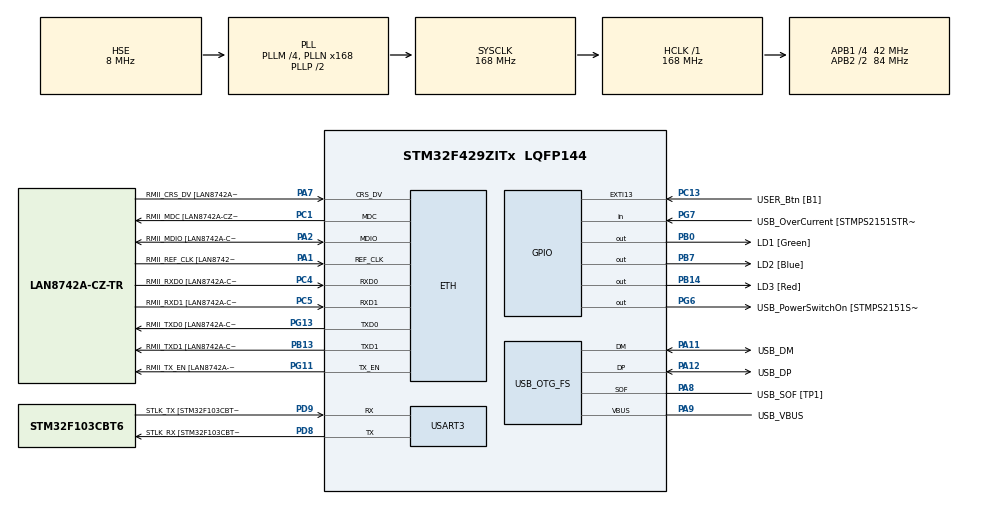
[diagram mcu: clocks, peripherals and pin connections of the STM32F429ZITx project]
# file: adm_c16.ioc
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ETH.MediaInterface=HAL_ETH_RMII_MODE
ETH.PHY_Name=LAN8742A_PHY_ADDRESS
ETH.PHY_Value=0
ETH.PhyAddress=0
Mcu.Family=STM32F4
Mcu.Name=STM32F429ZITx
Mcu.Package=LQFP144
NVIC.PriorityGroup=NVIC_PRIORITYGROUP_4
PA1.GPIO_Label=RMII_REF_CLK [LAN8742A-CZ-TR_REFCLK0]
PA1.Mode=RMII
PA1.Signal=ETH_REF_CLK
PA10.GPIO_Label=USB_ID
PA10.Signal=USB_OTG_FS_ID
PA11.GPIO_Label=USB_DM
PA11.Mode=Device_Only
PA11.Signal=USB_OTG_FS_DM
PA12.GPIO_Label=USB_DP
PA12.Mode=Device_Only
PA12.Signal=USB_OTG_FS_DP
PA13.GPIO_Label=TMS
PA13.Mode=Serial_Wire
PA13.Signal=SYS_JTMS-SWDIO
PA14.GPIO_Label=TCK
PA14.Mode=Serial_Wire
PA14.Signal=SYS_JTCK-SWCLK
PA2.GPIO_Label=RMII_MDIO [LAN8742A-CZ-TR_MDIO]
PA2.Mode=RMII
PA2.Signal=ETH_MDIO
PA7.GPIO_Label=RMII_CRS_DV [LAN8742A-CZ-TR_CRS_DV]
PA7.Mode=RMII
PA7.Signal=ETH_CRS_DV
PA8.GPIO_Label=USB_SOF [TP1]
PA8.Mode=Activate_SOF_FS
PA8.Signal=USB_OTG_FS_SOF
PA9.GPIO_Label=USB_VBUS
PA9.Mode=Activate_VBUS
PA9.Signal=USB_OTG_FS_VBUS
PB0.GPIO_Label=LD1 [Green]
PB0.Signal=GPIO_Output
PB13.GPIO_Label=RMII_TXD1 [LAN8742A-CZ-TR_TXD1]
PB13.Mode=RMII
PB13.Signal=ETH_TXD1
PB14.GPIO_Label=LD3 [Red]
PB14.Signal=GPIO_Output
PB7.GPIO_Label=LD2 [Blue]
PB7.Signal=GPIO_Output
PC1.GPIO_Label=RMII_MDC [LAN8742A-CZ-TR_MDC]
PC1.Mode=RMII
PC1.Signal=ETH_MDC
PC13.GPIO_Label=USER_Btn [B1]
PC13.Signal=GPXTI13
PC14/OSC32_IN.Mode=LSE-External-Oscillator
PC14/OSC32_IN.Signal=RCC_OSC32_IN
PC15/OSC32_OUT.Mode=LSE-External-Oscillator
PC15/OSC32_OUT.Signal=RCC_OSC32_OUT
PC4.GPIO_Label=RMII_RXD0 [LAN8742A-CZ-TR_RXD0]
PC4.Mode=RMII
PC4.Signal=ETH_RXD0
PC5.GPIO_Label=RMII_RXD1 [LAN8742A-CZ-TR_RXD1]
PC5.Mode=RMII
PC5.Signal=ETH_RXD1
PD8.GPIO_Label=STLK_RX [STM32F103CBT6_PA3]
PD8.Mode=Asynchronous
PD8.Signal=USART3_TX
PD9.GPIO_Label=STLK_TX [STM32F103CBT6_PA2]
PD9.Mode=Asynchronous
PD9.Signal=USART3_RX
PG11.GPIO_Label=RMII_TX_EN [LAN8742A-CZ-TR_TXEN]
PG11.Mode=RMII
PG11.Signal=ETH_TX_EN
PG13.GPIO_Label=RMII_TXD0 [LAN8742A-CZ-TR_TXD0]
PG13.Mode=RMII
PG13.Signal=ETH_TXD0
PG6.GPIO_Label=USB_PowerSwitchOn [STMPS2151STR_EN]
PG6.Signal=GPIO_Output
PG7.GPIO_Label=USB_OverCurrent [STMPS2151STR_FAULT]
PG7.Signal=GPIO_Input
PH0/OSC_IN.GPIO_Label=MCO [STM32F103CBT6_PA8]
PH0/OSC_IN.Mode=HSE-External-Clock-Source
PH0/OSC_IN.Signal=RCC_OSC_IN
PH1/OSC_OUT.Mode=HSE-External-Clock-Source
PH1/OSC_OUT.Signal=RCC_OSC_OUT
ProjectManager.HeapSize=0x200
ProjectManager.StackSize=0x400
ProjectManager.TargetToolchain=STM32CubeIDE
RCC.48MHZClocksFreq_Value=48000000
RCC.AHBFreq_Value=168000000
RCC.APB1CLKDivider=RCC_HCLK_DIV4
RCC.APB1Freq_Value=42000000
RCC.APB1TimFreq_Value=84000000
RCC.APB2CLKDivider=RCC_HCLK_DIV2
RCC.APB2Freq_Value=84000000
RCC.APB2TimCLKDivider=2
RCC.APB2TimFreq_Value=168000000
RCC.CortexFreq_Value=168000000
RCC.HCLKFreq_Value=168000000
RCC.HSE_VALUE=8000000
RCC.HSI_VALUE=16000000
RCC.PLLM=4
RCC.PLLMUL=RCC_PLL_MUL9
RCC.PLLN=168
RCC.PLLQ=7
RCC.PRESCALERUSB=RCC_USBCLKSOURCE_PLL_DIV1_5
RCC.SYSCLKFreq_VALUE=168000000
RCC.SYSCLKSource=RCC_SYSCLKSOURCE_PLLCLK
RCC.SYSCLKSourceVirtual=RCC_SYSCLKSOURCE_PLLCLK
RCC.USBFreq_Value=48000000
RCC.VCOOutputFreq_Value=336000000
USART3.VirtualMode=VM_ASYNC
USB_OTG_FS.VirtualMode=Device_Only
board=NUCLEO-F429ZI

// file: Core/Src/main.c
/* USER CODE BEGIN Header */
/**
  ******************************************************************************
  * @file           : main.c
  * @brief          : Main program body
  ******************************************************************************
  * @attention
  *
  * Copyright (c) 2022 STMicroelectronics.
  * All rights reserved.
  *
  * This software is licensed under terms that can be found in the LICENSE file
  * in the root directory of this software component.
  * If no LICENSE file comes with this software, it is provided AS-IS.
  *
  ******************************************************************************
  */
/* USER CODE END Header */
#include "main.h"
#include "string.h"
#include "asm_func.h"

/* USER CODE BEGIN PD */

#define LONGITUD_VECTOR 10

#define LONGITUD_VECTOR_LARGO 20

/* USER CODE END PD */

ETH_TxPacketConfig TxConfig;
ETH_DMADescTypeDef  DMARxDscrTab[ETH_RX_DESC_CNT]; /* Ethernet Rx DMA Descriptors */
ETH_DMADescTypeDef  DMATxDscrTab[ETH_TX_DESC_CNT]; /* Ethernet Tx DMA Descriptors */

 ETH_HandleTypeDef heth;

UART_HandleTypeDef huart3;

PCD_HandleTypeDef hpcd_USB_OTG_FS;

void SystemClock_Config(void);
static void MX_GPIO_Init(void);
static void MX_ETH_Init(void);
static void MX_USART3_UART_Init(void);
static void MX_USB_OTG_FS_PCD_Init(void);

/* USER CODE BEGIN 0 */

void zeros(uint32_t * vector, uint32_t longitud);

void productoEscalar32(uint32_t* vectorIn, uint32_t * vectorOut, uint32_t longitud, uint32_t escalar);

void productoEscalar16 (uint16_t * vectorIn, uint16_t * vectorOut, uint32_t longitud, uint16_t escalar);

void productoEscalar12 (uint16_t * vectorIn, uint16_t * vectorOut, uint32_t longitud, uint16_t escalar);

void filtroVentana10(uint16_t * vectorIn, uint16_t * vectorOut, uint32_t longitudVectorIn);

void pack32to16(int32_t * vectorIn, int16_t *vectorOut, uint32_t longitud);

int32_t max(int32_t * vectorIn, uint32_t longitud);

void downsampleM(int32_t * vectorIn, int32_t * vectorOut, uint32_t longitud, uint32_t N);

void invertir(uint16_t * vector, uint32_t longitud);
/* USER CODE END 0 */

int main(void)
{
	/* USER CODE BEGIN 1 */
	uint32_t longitud_vector = LONGITUD_VECTOR;
	uint32_t mi_vector[LONGITUD_VECTOR] = {1,2,3};
	uint32_t mi_vector_2[LONGITUD_VECTOR] = {0,1,2,3,4,5,6,7,8,9};

	uint16_t mi_vector_16[LONGITUD_VECTOR] = {1,2,3};
	uint16_t mi_vector_2_16[LONGITUD_VECTOR] = {0,1,2,3,4,5,6,7,8,9};

	uint16_t mi_vector_16_largo[LONGITUD_VECTOR_LARGO] = {1,2,3};
	uint16_t mi_vector_2_16_largo[LONGITUD_VECTOR_LARGO] = {0,1,2,3,4,5,6,7,8,9,10,11,12,13,14,15,16,17,18,19};

	int32_t mi_vector_signado_32[LONGITUD_VECTOR] = {-1<<16,1<<17,-1<<18,1<<19,-1<<20,1<<21,-1<<22,1<<23,-1<<24,1<<25};
	int16_t mi_vector_signado_16[LONGITUD_VECTOR] = {};

	int32_t mi_vector_signado_2_32[LONGITUD_VECTOR] = {0,-1,25,3,-4,5,6,15,8,9};
	int32_t mi_vector_signado_3_32[LONGITUD_VECTOR] = {};

	volatile int32_t max_val = 0;
	/* USER CODE END 1 */

	/* MCU Configuration--------------------------------------------------------*/

	/* Reset of all peripherals, Initializes the Flash interface and the Systick. */
	HAL_Init();

	/* Configure the system clock */
	SystemClock_Config();

	/* Initialize all configured peripherals */
	MX_GPIO_Init();
	MX_ETH_Init();
	MX_USART3_UART_Init();
	MX_USB_OTG_FS_PCD_Init();
	/* USER CODE BEGIN 2 */

	DWT->CTRL |= 1 << DWT_CTRL_CYCCNTENA_Pos; //Inicializo el contador de ciclos de clock
	DWT->CYCCNT = 0; //Variable donde se guardan la cantidad de ciclos de clock -> se resetea a 0

	zeros(mi_vector, longitud_vector);

	//productoEscalar32(mi_vector_2, mi_vector, longitud_vector, 2);

	//productoEscalar16(mi_vector_2_16, mi_vector_16, longitud_vector, 2);

	//productoEscalar12(mi_vector_2_16, mi_vector_16, longitud_vector, 1000);
	/*
	filtroVentana10(mi_vector_2_16_largo,  mi_vector_16_largo, LONGITUD_VECTOR_LARGO);

	pack32to16(mi_vector_signado_32, mi_vector_signado_16, longitud_vector);

	max(mi_vector_signado_2_32, longitud_vector);

	downsampleM(mi_vector_signado_2_32, mi_vector_signado_3_32, longitud_vector, 2);

	invertir(mi_vector_2_16, longitud_vector);*/

	/*
	asm_zeros(mi_vector, longitud_vector);

	asm_productoEscalar32(mi_vector_2, mi_vector, longitud_vector, 2);

	asm_productoEscalar16(mi_vector_2_16, mi_vector_16, longitud_vector, 2);

	asm_productoEscalar12(mi_vector_2_16, mi_vector_16, longitud_vector, 1000);

	asm_filtroVentana10(mi_vector_2_16_largo,  mi_vector_16_largo, LONGITUD_VECTOR_LARGO);

	asm_pack32to16(mi_vector_signado_32, mi_vector_signado_16, longitud_vector);

	max_val = asm_max(mi_vector_signado_2_32, longitud_vector);

	asm_downsampleM(mi_vector_signado_2_32, mi_vector_signado_3_32, longitud_vector, 2);
	*/
	asm_invertir(mi_vector_2_16, longitud_vector);

	/* USER CODE END 2 */

	/* Infinite loop */
	while (1)
	{

	}
}

/* PRIVATE USER FUNCTIONS*/

void zeros(uint32_t * vector, uint32_t longitud){
	for(uint32_t i = 0; i < longitud; i++){
		*(vector + i) = 0;
	}
}

void productoEscalar32(uint32_t * vectorIn, uint32_t * vectorOut, uint32_t longitud, uint32_t escalar){
	for(uint32_t i = 0; i < longitud; i++){
		*(vectorOut + i) = *(vectorIn + i) * escalar;
	}
}

void productoEscalar16 (uint16_t * vectorIn, uint16_t * vectorOut, uint32_t longitud, uint16_t escalar){
	for(uint32_t i = 0; i < longitud; i++){
		*(vectorOut + i) = *(vectorIn + i) * escalar;
	}
}

void productoEscalar12(uint16_t * vectorIn, uint16_t * vectorOut, uint32_t longitud, uint16_t escalar){
	for(uint8_t i = 0; i < longitud; i++){
		*(vectorOut + i) = *(vectorIn + i) * escalar;
		if(*(vectorOut + i) > 0x0FFF){
			*(vectorOut + i) = 0x0FFF;
		}
	}
}

void filtroVentana10(uint16_t * vectorIn, uint16_t * vectorOut, uint32_t longitudVectorIn){
	uint32_t sum = 0;
	uint32_t avg_num = 10;
	for(uint32_t i = 0; i < longitudVectorIn; i++){
		for(uint32_t j = i; j < i + avg_num; j++){
			if(j < longitudVectorIn){
				sum += *(vectorIn + j);
			}
			else{
				sum += *(vectorIn + j - longitudVectorIn);
			}
		}
		*vectorOut++ = (uint16_t)(sum / avg_num);
		sum = 0;
	}
}

void pack32to16(int32_t * vectorIn, int16_t *vectorOut, uint32_t longitud){
	for(uint32_t i = 0; i < longitud; i++){
		*vectorOut++ = (int16_t)(*vectorIn++ >> 16);;
	}
}

int32_t max(int32_t * vectorIn, uint32_t longitud){
	int32_t current_max = *vectorIn;
	for(uint32_t i = 0; i < longitud; i++){
		if(current_max < *vectorIn++){
			current_max = *(vectorIn - 1);
		}
	}
	return current_max;
}

void downsampleM(int32_t * vectorIn, int32_t * vectorOut, uint32_t longitud, uint32_t N){
	uint32_t counter = 0;
	for(uint32_t i = 0; i < longitud; i++){
		if(counter++ >= N){
			counter = 0;
			vectorIn++;
		}
		else{
			*vectorOut++ = *vectorIn++;
		}
	}
}

void invertir(uint16_t * vector, uint32_t longitud){
	uint16_t aux1 = 0;
	uint16_t aux2 = 0;
	for(uint32_t i = 0; i < longitud; i++){
		aux1 = *vector;
		aux2 = *(vector + longitud - 1 - i);
		*vector = aux2;
		*(vector++ + longitud-- - 1 - i) = aux1;
	}
}
/* END OF PRIVATE USER FUNCTIONS*/

void SystemClock_Config(void)
{
  RCC_OscInitTypeDef RCC_OscInitStruct = {0};
  RCC_ClkInitTypeDef RCC_ClkInitStruct = {0};

  /** Configure the main internal regulator output voltage
  */
  __HAL_RCC_PWR_CLK_ENABLE();
  __HAL_PWR_VOLTAGESCALING_CONFIG(PWR_REGULATOR_VOLTAGE_SCALE1);

  /** Initializes the RCC Oscillators according to the specified parameters
  * in the RCC_OscInitTypeDef structure.
  */
  RCC_OscInitStruct.OscillatorType = RCC_OSCILLATORTYPE_HSE;
  RCC_OscInitStruct.HSEState = RCC_HSE_BYPASS;
  RCC_OscInitStruct.PLL.PLLState = RCC_PLL_ON;
  RCC_OscInitStruct.PLL.PLLSource = RCC_PLLSOURCE_HSE;
  RCC_OscInitStruct.PLL.PLLM = 4;
  RCC_OscInitStruct.PLL.PLLN = 168;
  RCC_OscInitStruct.PLL.PLLP = RCC_PLLP_DIV2;
  RCC_OscInitStruct.PLL.PLLQ = 7;
  if (HAL_RCC_OscConfig(&RCC_OscInitStruct) != HAL_OK)
  {
    Error_Handler();
  }

  /** Initializes the CPU, AHB and APB buses clocks
  */
  RCC_ClkInitStruct.ClockType = RCC_CLOCKTYPE_HCLK|RCC_CLOCKTYPE_SYSCLK
                              |RCC_CLOCKTYPE_PCLK1|RCC_CLOCKTYPE_PCLK2;
  RCC_ClkInitStruct.SYSCLKSource = RCC_SYSCLKSOURCE_PLLCLK;
  RCC_ClkInitStruct.AHBCLKDivider = RCC_SYSCLK_DIV1;
  RCC_ClkInitStruct.APB1CLKDivider = RCC_HCLK_DIV4;
  RCC_ClkInitStruct.APB2CLKDivider = RCC_HCLK_DIV2;

  if (HAL_RCC_ClockConfig(&RCC_ClkInitStruct, FLASH_LATENCY_5) != HAL_OK)
  {
    Error_Handler();
  }
}

static void MX_ETH_Init(void)
{

   static uint8_t MACAddr[6];

  heth.Instance = ETH;
  MACAddr[0] = 0x00;
  MACAddr[1] = 0x80;
  MACAddr[2] = 0xE1;
  MACAddr[3] = 0x00;
  MACAddr[4] = 0x00;
  MACAddr[5] = 0x00;
  heth.Init.MACAddr = &MACAddr[0];
  heth.Init.MediaInterface = HAL_ETH_RMII_MODE;
  heth.Init.TxDesc = DMATxDscrTab;
  heth.Init.RxDesc = DMARxDscrTab;
  heth.Init.RxBuffLen = 1524;

  if (HAL_ETH_Init(&heth) != HAL_OK)
  {
    Error_Handler();
  }

  memset(&TxConfig, 0 , sizeof(ETH_TxPacketConfig));
  TxConfig.Attributes = ETH_TX_PACKETS_FEATURES_CSUM | ETH_TX_PACKETS_FEATURES_CRCPAD;
  TxConfig.ChecksumCtrl = ETH_CHECKSUM_IPHDR_PAYLOAD_INSERT_PHDR_CALC;
  TxConfig.CRCPadCtrl = ETH_CRC_PAD_INSERT;

}

static void MX_USART3_UART_Init(void)
{

  huart3.Instance = USART3;
  huart3.Init.BaudRate = 115200;
  huart3.Init.WordLength = UART_WORDLENGTH_8B;
  huart3.Init.StopBits = UART_STOPBITS_1;
  huart3.Init.Parity = UART_PARITY_NONE;
  huart3.Init.Mode = UART_MODE_TX_RX;
  huart3.Init.HwFlowCtl = UART_HWCONTROL_NONE;
  huart3.Init.OverSampling = UART_OVERSAMPLING_16;
  if (HAL_UART_Init(&huart3) != HAL_OK)
  {
    Error_Handler();
  }

}

static void MX_USB_OTG_FS_PCD_Init(void)
{

  hpcd_USB_OTG_FS.Instance = USB_OTG_FS;
  hpcd_USB_OTG_FS.Init.dev_endpoints = 4;
  hpcd_USB_OTG_FS.Init.speed = PCD_SPEED_FULL;
  hpcd_USB_OTG_FS.Init.dma_enable = DISABLE;
  hpcd_USB_OTG_FS.Init.phy_itface = PCD_PHY_EMBEDDED;
  hpcd_USB_OTG_FS.Init.Sof_enable = ENABLE;
  hpcd_USB_OTG_FS.Init.low_power_enable = DISABLE;
  hpcd_USB_OTG_FS.Init.lpm_enable = DISABLE;
  hpcd_USB_OTG_FS.Init.vbus_sensing_enable = ENABLE;
  hpcd_USB_OTG_FS.Init.use_dedicated_ep1 = DISABLE;
  if (HAL_PCD_Init(&hpcd_USB_OTG_FS) != HAL_OK)
  {
    Error_Handler();
  }

}

static void MX_GPIO_Init(void)
{
  GPIO_InitTypeDef GPIO_InitStruct = {0};

  /* GPIO Ports Clock Enable */
  __HAL_RCC_GPIOC_CLK_ENABLE();
  __HAL_RCC_GPIOH_CLK_ENABLE();
  __HAL_RCC_GPIOA_CLK_ENABLE();
  __HAL_RCC_GPIOB_CLK_ENABLE();
  __HAL_RCC_GPIOD_CLK_ENABLE();
  __HAL_RCC_GPIOG_CLK_ENABLE();

  /*Configure GPIO pin Output Level */
  HAL_GPIO_WritePin(GPIOB, LD1_Pin|LD3_Pin|LD2_Pin, GPIO_PIN_RESET);

  /*Configure GPIO pin Output Level */
  HAL_GPIO_WritePin(USB_PowerSwitchOn_GPIO_Port, USB_PowerSwitchOn_Pin, GPIO_PIN_RESET);

  /*Configure GPIO pin : USER_Btn_Pin */
  GPIO_InitStruct.Pin = USER_Btn_Pin;
  GPIO_InitStruct.Mode = GPIO_MODE_IT_RISING;
  GPIO_InitStruct.Pull = GPIO_NOPULL;
  HAL_GPIO_Init(USER_Btn_GPIO_Port, &GPIO_InitStruct);

  /*Configure GPIO pins : LD1_Pin LD3_Pin LD2_Pin */
  GPIO_InitStruct.Pin = LD1_Pin|LD3_Pin|LD2_Pin;
  GPIO_InitStruct.Mode = GPIO_MODE_OUTPUT_PP;
  GPIO_InitStruct.Pull = GPIO_NOPULL;
  GPIO_InitStruct.Speed = GPIO_SPEED_FREQ_LOW;
  HAL_GPIO_Init(GPIOB, &GPIO_InitStruct);

  /*Configure GPIO pin : USB_PowerSwitchOn_Pin */
  GPIO_InitStruct.Pin = USB_PowerSwitchOn_Pin;
  GPIO_InitStruct.Mode = GPIO_MODE_OUTPUT_PP;
  GPIO_InitStruct.Pull = GPIO_NOPULL;
  GPIO_InitStruct.Speed = GPIO_SPEED_FREQ_LOW;
  HAL_GPIO_Init(USB_PowerSwitchOn_GPIO_Port, &GPIO_InitStruct);

  /*Configure GPIO pin : USB_OverCurrent_Pin */
  GPIO_InitStruct.Pin = USB_OverCurrent_Pin;
  GPIO_InitStruct.Mode = GPIO_MODE_INPUT;
  GPIO_InitStruct.Pull = GPIO_NOPULL;
  HAL_GPIO_Init(USB_OverCurrent_GPIO_Port, &GPIO_InitStruct);

}

void Error_Handler(void)
{
  __disable_irq();
  while (1)
  {
  }
}
